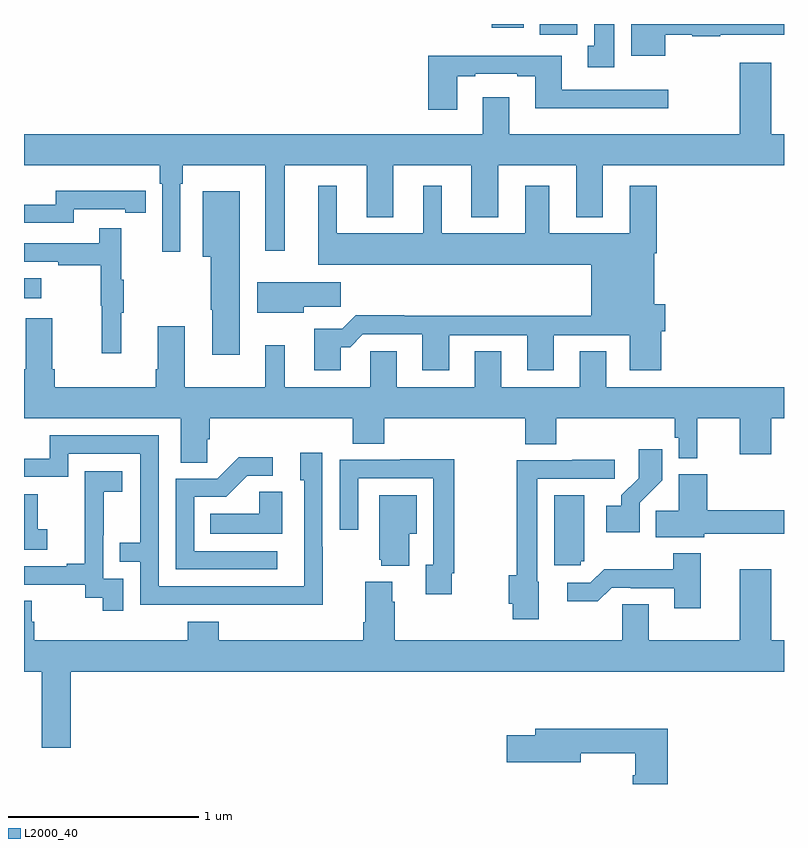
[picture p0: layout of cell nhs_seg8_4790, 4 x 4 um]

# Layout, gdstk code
import gdstk
lib = gdstk.Library(unit=1e-6, precision=1e-09)
def R(c, l, rs):  # rectangles x0, y0, x1, y1
    for r in rs: c.add(gdstk.rectangle(r[:2], r[2:], *l))
def P(c, l, *ps):  # polygons
    for p in ps: c.add(gdstk.Polygon(p, *l))
L2000_40 = (2000, 40)

nhs_seg8_4790 = lib.new_cell('nhs_seg8_4790')
R(nhs_seg8_4790, L2000_40, [(401,1126.457,401.092,1126.561), (403.715,1127.844,403.911,1127.9), (403.463,1127.88,403.63,1127.9)])
P(nhs_seg8_4790, L2000_40, [(404.107,1127.9),(404,1127.9),(404,1127.785),(403.967,1127.785),(403.967,1127.673),(404.107,1127.673)],
  [(404.374,1127.844),(404.517,1127.844),(404.517,1127.836),(404.664,1127.836),(404.664,1127.843),(405,1127.843),(405,1127.9),(404.195,1127.9),(404.195,1127.732),(404.374,1127.732)],
  [(403.279,1127.625),(403.375,1127.625),(403.375,1127.637),(403.595,1127.637),(403.595,1127.625),(403.691,1127.625),(403.691,1127.456),(404.392,1127.456),(404.392,1127.553),(403.831,1127.553),(403.831,1127.734),(403.127,1127.734),(403.127,1127.448),(403.279,1127.448)],
  [(401,1127.156),(401.714,1127.156),(401.714,1127.06),(401.727,1127.06),(401.727,1126.701),(401.823,1126.701),(401.823,1127.06),(401.836,1127.06),(401.836,1127.156),(402.269,1127.156),(402.269,1126.707),(402.373,1126.707),(402.373,1127.156),(402.803,1127.156),(402.803,1126.883),(402.943,1126.883),(402.943,1127.156),(403.355,1127.156),(403.355,1126.883),(403.495,1126.883),(403.495,1127.156),(403.907,1127.156),(403.907,1126.883),(404.047,1126.883),(404.047,1127.156),(405,1127.156),(405,1127.32),(404.932,1127.32),(404.932,1127.695),(404.768,1127.695),(404.768,1127.32),(403.555,1127.32),(403.555,1127.515),(403.415,1127.515),(403.415,1127.32),(401,1127.32)],
  [(402.667,1126.199),(402.716,1126.199),(402.783,1126.266),(403.097,1126.266),(403.097,1126.077),(403.237,1126.077),(403.237,1126.263),(403.649,1126.263),(403.649,1126.077),(403.789,1126.077),(403.789,1126.263),(404.189,1126.263),(404.189,1126.077),(404.354,1126.077),(404.354,1126.282),(404.374,1126.282),(404.374,1126.424),(404.317,1126.424),(404.317,1126.694),(404.33,1126.694),(404.33,1127.05),(404.189,1127.05),(404.189,1126.798),(403.765,1126.798),(403.765,1127.05),(403.637,1127.05),(403.637,1126.798),(403.198,1126.798),(403.198,1127.05),(403.1,1127.05),(403.1,1126.798),(402.646,1126.798),(402.646,1127.05),(402.548,1127.05),(402.548,1126.634),(403.985,1126.634),(403.985,1126.364),(403.001,1126.364),(403.001,1126.367),(402.746,1126.367),(402.676,1126.297),(402.527,1126.297),(402.527,1126.077),(402.667,1126.077)],
  [(401.262,1126.926),(401.534,1126.926),(401.534,1126.906),(401.642,1126.906),(401.642,1127.022),(401.534,1127.022),(401.534,1127.023),(401.166,1127.023),(401.166,1126.95),(401,1126.95),(401,1126.854),(401.262,1126.854)],
  [(402.136,1127.02),(401.942,1127.02),(401.942,1126.676),(401.983,1126.676),(401.983,1126.396),(401.99,1126.396),(401.99,1126.158),(402.136,1126.158)],
  [(401.513,1126.379),(401.524,1126.379),(401.524,1126.553),(401.513,1126.553),(401.513,1126.825),(401.395,1126.825),(401.395,1126.746),(401,1126.746),(401,1126.65),(401.179,1126.65),(401.179,1126.63),(401.403,1126.63),(401.403,1126.416),(401.41,1126.416),(401.41,1126.167),(401.513,1126.167)],
  [(402.472,1126.411),(402.667,1126.411),(402.667,1126.54),(402.228,1126.54),(402.228,1126.379),(402.472,1126.379)],
  [(401.964,1125.715),(401.978,1125.715),(401.978,1125.824),(402.731,1125.824),(402.731,1125.691),(402.896,1125.691),(402.896,1125.824),(403.637,1125.824),(403.637,1125.688),(403.802,1125.688),(403.802,1125.824),(404.425,1125.824),(404.425,1125.723),(404.445,1125.723),(404.445,1125.614),(404.544,1125.614),(404.544,1125.824),(404.768,1125.824),(404.768,1125.636),(404.932,1125.636),(404.932,1125.824),(405,1125.824),(405,1125.988),(404.065,1125.988),(404.065,1126.178),(403.925,1126.178),(403.925,1125.988),(403.513,1125.988),(403.513,1126.178),(403.373,1126.178),(403.373,1125.988),(402.961,1125.988),(402.961,1126.178),(402.822,1126.178),(402.822,1125.988),(402.373,1125.988),(402.373,1126.21),(402.269,1126.21),(402.269,1125.988),(401.845,1125.988),(401.845,1126.309),(401.705,1126.309),(401.705,1126.084),(401.693,1126.084),(401.693,1125.988),(401.162,1125.988),(401.162,1126.084),(401.149,1126.084),(401.149,1126.351),(401.009,1126.351),(401.009,1126.084),(401,1126.084),(401,1125.824),(401.825,1125.824),(401.825,1125.592),(401.964,1125.592)],
  [(402.573,1125.149),(402.57,1125.149),(402.57,1125.643),(402.455,1125.643),(402.455,1125.498),(402.474,1125.498),(402.474,1124.94),(401.709,1124.94),(401.709,1125.735),(401.135,1125.735),(401.135,1125.612),(401,1125.612),(401,1125.516),(401.232,1125.516),(401.232,1125.639),(401.613,1125.639),(401.613,1125.17),(401.503,1125.17),(401.503,1125.069),(401.613,1125.069),(401.613,1124.844),(402.109,1124.844),(402.109,1124.843),(402.573,1124.843)],
  [(404.241,1125.379),(404.36,1125.498),(404.36,1125.661),(404.235,1125.661),(404.235,1125.509),(404.144,1125.419),(404.144,1125.364),(404.064,1125.364),(404.064,1125.224),(404.241,1125.224)],
  [(402.334,1125.126),(401.895,1125.126),(401.895,1125.411),(402.064,1125.411),(402.175,1125.522),(402.31,1125.522),(402.31,1125.62),(402.131,1125.62),(402.018,1125.507),(401.799,1125.507),(401.799,1125.03),(402.334,1125.03)],
  [(403.251,1125.01),(403.264,1125.01),(403.264,1125.608),(402.979,1125.608),(402.979,1125.606),(402.663,1125.606),(402.663,1125.237),(402.759,1125.237),(402.759,1125.51),(403.155,1125.51),(403.155,1125.054),(403.115,1125.054),(403.115,1124.898),(403.251,1124.898)],
  [(403.708,1124.964),(403.701,1124.964),(403.701,1125.507),(404.11,1125.507),(404.11,1125.606),(403.885,1125.606),(403.885,1125.603),(403.593,1125.603),(403.593,1124.999),(403.55,1124.999),(403.55,1124.85),(403.572,1124.85),(403.572,1124.768),(403.708,1124.768)],
  [(401.523,1124.979),(401.418,1124.979),(401.418,1125.209),(401.42,1125.209),(401.42,1125.437),(401.518,1125.437),(401.518,1125.547),(401.32,1125.547),(401.32,1125.341),(401.321,1125.341),(401.321,1125.058),(401.225,1125.058),(401.225,1125.045),(401,1125.045),(401,1124.949),(401.322,1124.949),(401.322,1124.881),(401.415,1124.881),(401.415,1124.811),(401.523,1124.811)],
  [(404.58,1125.218),(405,1125.218),(405,1125.34),(404.597,1125.34),(404.597,1125.529),(404.447,1125.529),(404.447,1125.338),(404.326,1125.338),(404.326,1125.2),(404.58,1125.2)],
  [(402.358,1125.437),(402.237,1125.437),(402.237,1125.322),(401.98,1125.322),(401.98,1125.218),(402.358,1125.218)],
  [(401.122,1125.241),(401.073,1125.241),(401.073,1125.426),(401,1125.426),(401,1125.132),(401.122,1125.132)],
  [(403.929,1125.072),(403.948,1125.072),(403.948,1125.421),(403.79,1125.421),(403.79,1125.051),(403.929,1125.051)],
  [(403.027,1125.218),(403.066,1125.218),(403.066,1125.421),(402.869,1125.421),(402.869,1125.081),(402.881,1125.081),(402.881,1125.05),(403.027,1125.05)],
  [(404.563,1125.115),(404.416,1125.115),(404.416,1125.031),(404.053,1125.031),(403.98,1124.958),(403.86,1124.958),(403.86,1124.861),(404.021,1124.861),(404.094,1124.934),(404.194,1124.934),(404.194,1124.931),(404.423,1124.931),(404.423,1124.826),(404.563,1124.826)],
  [(401,1124.864),(401,1124.492),(401.093,1124.492),(401.093,1124.091),(401.246,1124.091),(401.246,1124.492),(405,1124.492),(405,1124.656),(404.932,1124.656),(404.932,1125.031),(404.768,1125.031),(404.768,1124.656),(404.287,1124.656),(404.287,1124.846),(404.148,1124.846),(404.148,1124.656),(402.95,1124.656),(402.95,1124.858),(402.937,1124.858),(402.937,1124.965),(402.797,1124.965),(402.797,1124.752),(402.785,1124.752),(402.785,1124.656),(402.026,1124.656),(402.026,1124.755),(401.861,1124.755),(401.861,1124.656),(401.054,1124.656),(401.054,1124.754),(401.041,1124.754),(401.041,1124.864)],
  [(404.387,1124.191),(403.691,1124.191),(403.691,1124.157),(403.542,1124.157),(403.542,1124.015),(403.93,1124.015),(403.93,1124.062),(404.216,1124.062),(404.216,1123.947),(404.204,1123.947),(404.204,1123.9),(404.387,1123.9)])

lib.write_gds('nhs_seg8_4790.gds')
